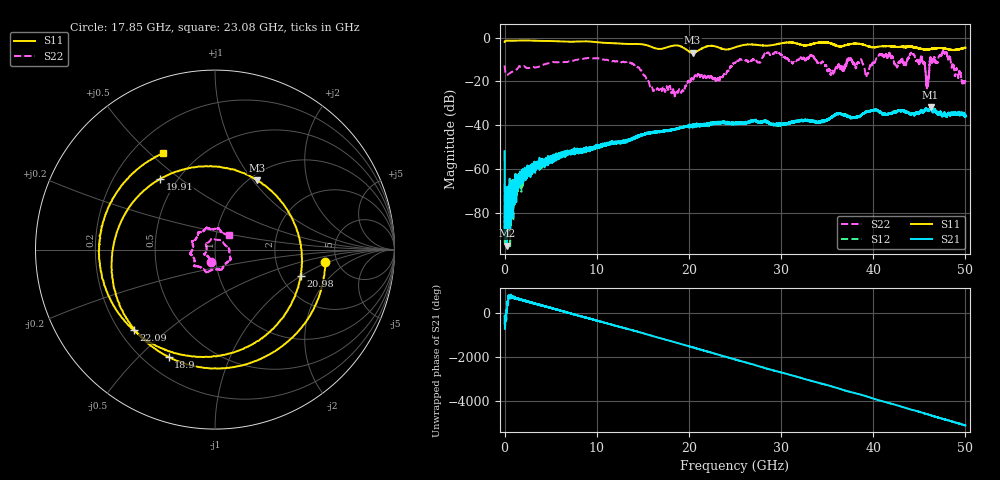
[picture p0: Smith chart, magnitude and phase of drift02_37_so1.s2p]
!Created with skrf (http://scikit-rf.org).
# Hz S RI R 50.0
!freq ReS11 ImS11 ReS21 ImS21 ReS12 ImS12 ReS22 ImS22
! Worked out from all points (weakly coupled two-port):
!   10001 points, 300 kHz to 50 GHz, reference 50 ohm
!   highest |S21| = -31.64 dB at 46.22 GHz (marker M1); lowest = -94.8 dB at 235.3 MHz (marker M2)
!   lowest |S11| = -6.9 dB at 20.4 GHz (marker M3), VSWR 2.64, Z = 54.1 + j52.3 ohm
!   |S11| at or under -10 dB: nowhere
!   |S22| runs from -26.8 to -6.1 dB; largest |S21 - S12| = 0.0031
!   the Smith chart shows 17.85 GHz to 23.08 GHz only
!   S11 on the Smith chart (normalised r, x): 17.85 GHz: 4.03, -0.87; 18.9 GHz: 0.30, -0.62; 19.91 GHz: 0.40, +0.42; 20.98 GHz: 2.55, -1.00; 22.09 GHz: 0.26, -0.39; 23.08 GHz: 0.32, +0.55
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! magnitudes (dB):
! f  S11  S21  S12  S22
! 300 kHz  -2.0  -51.7  -66.9  -12.7
! 235.3 MHz  -1.4  -94.8  -68.4  -17.0
! 3.175 GHz  -1.4  -58.6  -58.1  -13.5
! 8.335 GHz  -1.7  -51.5  -50.7  -9.7
! 13.71 GHz  -2.9  -46.4  -46.3  -11.6
! 16.67 GHz  -5.2  -42.8  -42.7  -23.6
! 17.85 GHz  -4.2  -42.3  -42.2  -22.8
! 18.9 GHz  -3.7  -41.4  -41.2  -24.0
! 19.91 GHz  -6.0  -40.4  -40.5  -19.9
! 20.4 GHz  -6.9  -40.9  -40.5  -19.0
! 20.98 GHz  -6.0  -40.2  -39.6  -16.7
! 22.09 GHz  -3.9  -39.5  -39.5  -17.6
! 23.08 GHz  -4.3  -38.4  -38.7  -18.8
! 25 GHz  -4.5  -39.3  -38.8  -11.5
! 33.34 GHz  -3.1  -38.0  -38.0  -8.4
! 39.33 GHz  -3.8  -33.7  -33.7  -16.6
! 41.67 GHz  -3.9  -34.8  -34.7  -7.8
! 44.26 GHz  -4.3  -34.7  -34.7  -7.5
! 45.84 GHz  -5.5  -32.5  -32.9  -19.3
! 46.22 GHz  -5.2  -31.6  -31.8  -9.9
! 47.75 GHz  -4.9  -34.1  -34.6  -7.3
! 50 GHz  -4.7  -35.7  -36.0  -19.1
